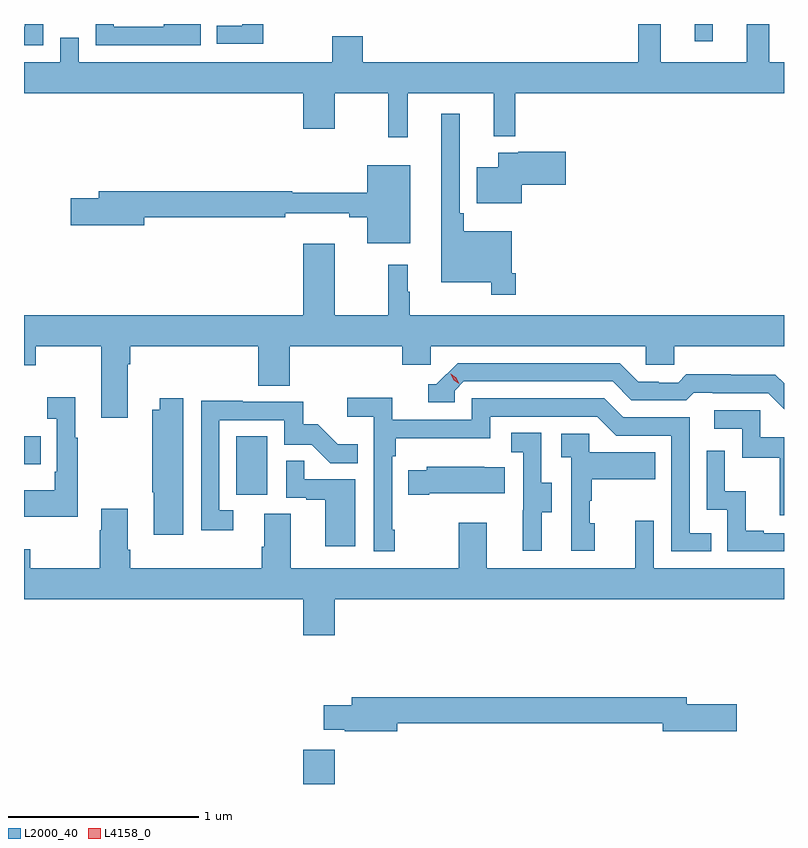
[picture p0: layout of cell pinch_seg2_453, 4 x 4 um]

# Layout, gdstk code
import gdstk
lib = gdstk.Library(unit=1e-6, precision=1e-09)
def R(c, l, rs):  # rectangles x0, y0, x1, y1
    for r in rs: c.add(gdstk.rectangle(r[:2], r[2:], *l))
def P(c, l, *ps):  # polygons
    for p in ps: c.add(gdstk.Polygon(p, *l))
L2000_40 = (2000, 40)
L4158_0 = (4158, 0)

pinch_seg2_453 = lib.new_cell('pinch_seg2_453')
R(pinch_seg2_453, L2000_40, [(908.264,586.724,908.428,586.903), (907.91,588.246,908.074,588.553), (906.793,588.407,906.881,588.555), (910.322,590.634,910.419,590.724)])
P(pinch_seg2_453, L2000_40, [(907.722,590.724),(907.625,590.724),(907.625,590.722),(907.529,590.722),(907.529,590.709),(907.266,590.709),(907.266,590.724),(907.17,590.724),(907.17,590.613),(907.722,590.613)],
  [(906.894,590.724),(906.798,590.724),(906.798,590.709),(906.793,590.709),(906.793,590.613),(906.894,590.613)],
  [(908.053,590.724),(907.942,590.724),(907.942,590.716),(907.807,590.716),(907.807,590.619),(908.053,590.619)],
  [(910.598,590.724),(910.598,590.524),(910.145,590.524),(910.145,590.724),(910.027,590.724),(910.027,590.524),(908.576,590.524),(908.576,590.659),(908.416,590.659),(908.416,590.524),(907.08,590.524),(907.08,590.651),(906.984,590.651),(906.984,590.524),(906.793,590.524),(906.793,590.36),(908.264,590.36),(908.264,590.172),(908.428,590.172),(908.428,590.36),(908.71,590.36),(908.71,590.127),(908.813,590.127),(908.813,590.36),(909.266,590.36),(909.266,590.132),(909.379,590.132),(909.379,590.36),(910.793,590.36),(910.793,590.524),(910.715,590.524),(910.715,590.724)],
  [(909.38,589.411),(909.36,589.411),(909.36,589.633),(909.107,589.633),(909.107,589.729),(909.087,589.729),(909.087,590.251),(908.99,590.251),(908.99,589.364),(909.252,589.364),(909.252,589.299),(909.38,589.299)],
  [(909.412,589.877),(909.643,589.877),(909.643,590.052),(909.394,590.052),(909.394,590.047),(909.29,590.047),(909.29,589.969),(909.176,589.969),(909.176,589.781),(909.412,589.781)],
  [(908.827,589.981),(908.6,589.981),(908.6,589.837),(908.204,589.837),(908.204,589.844),(907.187,589.844),(907.187,589.808),(907.038,589.808),(907.038,589.666),(907.426,589.666),(907.426,589.708),(908.168,589.708),(908.168,589.727),(908.504,589.727),(908.504,589.708),(908.6,589.708),(908.6,589.571),(908.827,589.571)],
  [(907.339,588.932),(907.352,588.932),(907.352,589.028),(908.027,589.028),(908.027,588.82),(908.192,588.82),(908.192,589.028),(908.783,589.028),(908.783,588.93),(908.934,588.93),(908.934,589.028),(910.065,589.028),(910.065,588.93),(910.215,588.93),(910.215,589.028),(910.793,589.028),(910.793,589.192),(908.824,589.192),(908.824,589.316),(908.812,589.316),(908.812,589.456),(908.71,589.456),(908.71,589.192),(908.428,589.192),(908.428,589.567),(908.264,589.567),(908.264,589.192),(906.793,589.192),(906.793,588.929),(906.855,588.929),(906.855,589.028),(907.199,589.028),(907.199,588.651),(907.339,588.651)],
  [(910.793,588.832),(910.748,588.877),(910.512,588.877),(910.512,588.88),(910.279,588.88),(910.237,588.837),(910.134,588.837),(910.134,588.84),(910.027,588.84),(909.928,588.939),(909.075,588.939),(908.964,588.828),(908.921,588.828),(908.921,588.732),(909.06,588.732),(909.06,588.795),(909.108,588.843),(909.891,588.843),(909.99,588.744),(910.279,588.744),(910.318,588.783),(910.417,588.783),(910.417,588.78),(910.71,588.78),(910.793,588.697)],
  [(907.075,588.547),(907.063,588.547),(907.063,588.76),(906.915,588.76),(906.915,588.647),(906.966,588.647),(906.966,588.367),(906.954,588.367),(906.954,588.271),(906.793,588.271),(906.793,588.131),(907.075,588.131)],
  [(908.743,588.061),(908.73,588.061),(908.73,588.449),(908.75,588.449),(908.75,588.545),(909.246,588.545),(909.246,588.657),(909.81,588.657),(909.909,588.558),(910.2,588.558),(910.2,587.949),(910.409,587.949),(910.409,588.045),(910.296,588.045),(910.296,588.654),(909.946,588.654),(909.847,588.753),(909.15,588.753),(909.15,588.642),(908.732,588.642),(908.732,588.758),(908.493,588.758),(908.493,588.656),(908.634,588.656),(908.634,587.949),(908.743,587.949)],
  [(907.63,588.754),(907.508,588.754),(907.508,588.694),(907.468,588.694),(907.468,588.259),(907.475,588.259),(907.475,588.036),(907.63,588.036)],
  [(907.894,588.165),(907.821,588.165),(907.821,588.639),(908.163,588.639),(908.163,588.51),(908.307,588.51),(908.405,588.412),(908.549,588.412),(908.549,588.511),(908.445,588.511),(908.338,588.618),(908.262,588.618),(908.262,588.735),(907.943,588.735),(907.943,588.74),(907.725,588.74),(907.725,588.06),(907.894,588.06)],
  [(910.793,588.549),(910.668,588.549),(910.668,588.69),(910.425,588.69),(910.425,588.594),(910.572,588.594),(910.572,588.441),(910.771,588.441),(910.771,588.138),(910.793,588.138)],
  [(909.517,588.154),(909.571,588.154),(909.571,588.309),(909.516,588.309),(909.516,588.572),(909.357,588.572),(909.357,588.469),(909.42,588.469),(909.42,588.165),(909.419,588.165),(909.419,587.952),(909.517,587.952)],
  [(909.796,588.096),(909.771,588.096),(909.771,588.215),(909.781,588.215),(909.781,588.329),(910.115,588.329),(910.115,588.469),(909.768,588.469),(909.768,588.567),(909.621,588.567),(909.621,588.443),(909.672,588.443),(909.672,587.952),(909.796,587.952)],
  [(910.793,588.045),(910.687,588.045),(910.687,588.058),(910.592,588.058),(910.592,588.266),(910.482,588.266),(910.482,588.478),(910.386,588.478),(910.386,588.168),(910.494,588.168),(910.494,587.949),(910.793,587.949)],
  [(908.536,588.327),(908.267,588.327),(908.267,588.425),(908.172,588.425),(908.172,588.231),(908.279,588.231),(908.279,588.219),(908.378,588.219),(908.378,587.976),(908.536,587.976)],
  [(908.926,588.254),(909.323,588.254),(909.323,588.391),(909.215,588.391),(909.215,588.394),(908.913,588.394),(908.913,588.376),(908.815,588.376),(908.815,588.247),(908.926,588.247)],
  [(910.793,587.86),(910.107,587.86),(910.107,588.109),(910.01,588.109),(910.01,587.86),(909.229,587.86),(909.229,588.1),(909.082,588.1),(909.082,587.86),(908.197,587.86),(908.197,588.146),(908.057,588.146),(908.057,587.972),(908.045,587.972),(908.045,587.86),(907.352,587.86),(907.352,587.956),(907.339,587.956),(907.339,588.172),(907.199,588.172),(907.199,588.059),(907.192,588.059),(907.192,587.86),(906.825,587.86),(906.825,587.959),(906.793,587.959),(906.793,587.696),(908.264,587.696),(908.264,587.508),(908.428,587.508),(908.428,587.696),(910.793,587.696)],
  [(908.758,587.044),(910.154,587.044),(910.154,587.002),(910.543,587.002),(910.543,587.144),(910.282,587.144),(910.282,587.18),(908.519,587.18),(908.519,587.139),(908.37,587.139),(908.37,587.009),(908.482,587.009),(908.482,587.002),(908.758,587.002)])
P(pinch_seg2_453, L4158_0, [(909.085,588.83),(909.054,588.85),(909.039,588.883),(909.039,588.883),(909.039,588.883),(909.069,588.863),(909.085,588.83),(909.085,588.83)])

lib.write_gds('pinch_seg2_453.gds')
